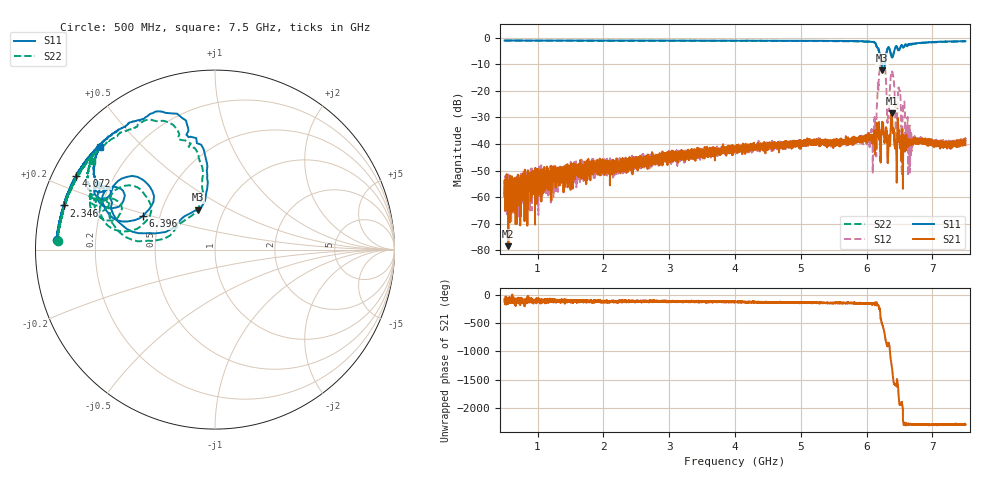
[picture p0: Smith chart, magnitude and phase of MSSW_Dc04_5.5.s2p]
!Keysight Technologies,M9374A,MY55442783,A.12.55.05
!Date: Wednesday, May 19, 2021 17:07:48
!Correction: S11(Full 2 Port(1,2))
!S21(Full 2 Port(1,2))
!S12(Full 2 Port(1,2))
!S22(Full 2 Port(1,2))
!S2P File: Measurements: S11, S21, S12, S22:
# Hz S  RI  R 50
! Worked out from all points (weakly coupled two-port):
!   7001 points, 500 MHz to 7.5 GHz, reference 50 ohm
!   highest |S21| = -28.44 dB at 6.378 GHz (marker M1); lowest = -78.4 dB at 557 MHz (marker M2)
!   lowest |S11| = -12.3 dB at 6.238 GHz (marker M3), VSWR 1.64, Z = 37.6 + j17.8 ohm
!   |S11| at or under -10 dB: 6.228 GHz to 6.275 GHz (47.02 MHz wide, 0.752 % of centre)
!   |S22| runs from -12.9 to -1.1 dB; largest |S21 - S12| = 0.38
!   S11 on the Smith chart (normalised r, x): 500 MHz: 0.06, +0.03; 2.346 GHz: 0.07, +0.14; 4.072 GHz: 0.07, +0.25; 6.396 GHz: 0.40, +0.19; 7.5 GHz: 0.09, +0.38
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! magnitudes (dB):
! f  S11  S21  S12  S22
! 500 MHz  -1.1  -59.5  -56.1  -1.1
! 557 MHz  -1.1  -78.4  -55.0  -1.1
! 1.667 GHz  -1.1  -48.1  -49.6  -1.2
! 2.346 GHz  -1.1  -47.4  -50.9  -1.2
! 2.834 GHz  -1.1  -44.0  -45.6  -1.2
! 4 GHz  -1.2  -41.7  -41.7  -1.2
! 4.072 GHz  -1.1  -42.5  -42.7  -1.2
! 5.167 GHz  -1.2  -39.7  -39.3  -1.3
! 6.071 GHz  -1.6  -36.9  -35.1  -1.8
! 6.121 GHz  -1.7  -35.3  -30.0  -1.9
! 6.19 GHz  -5.2  -33.6  -13.5  -5.5
! 6.238 GHz  -12.3  -32.0  -8.0  -12.7
! 6.265 GHz  -11.8  -37.4  -9.7  -11.9
! 6.334 GHz  -3.5  -40.4  -29.5  -3.7
! 6.378 GHz  -7.1  -28.4  -12.8  -7.5
! 6.396 GHz  -7.1  -35.2  -13.6  -7.3
! 6.44 GHz  -3.5  -39.7  -38.1  -3.6
! 6.491 GHz  -4.8  -36.5  -19.0  -4.9
! 6.558 GHz  -3.6  -38.3  -25.1  -3.8
! 6.588 GHz  -2.5  -36.8  -41.5  -2.6
! 6.663 GHz  -2.3  -40.1  -38.2  -2.4
! 7.5 GHz  -1.3  -40.4  -39.9  -1.4
